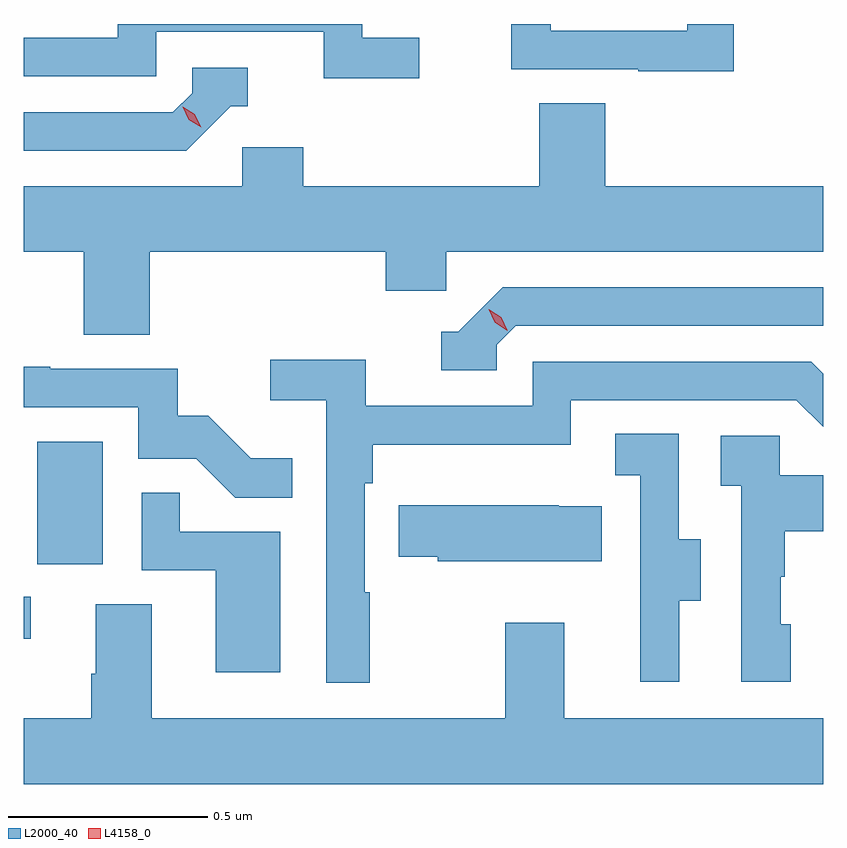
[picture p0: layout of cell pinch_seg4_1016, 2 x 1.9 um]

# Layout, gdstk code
import gdstk
lib = gdstk.Library(unit=1e-6, precision=1e-09)
def R(c, l, rs):  # rectangles x0, y0, x1, y1
    for r in rs: c.add(gdstk.rectangle(r[:2], r[2:], *l))
def P(c, l, *ps):  # polygons
    for p in ps: c.add(gdstk.Polygon(p, *l))
L2000_40 = (2000, 40)
L4158_0 = (4158, 0)

pinch_seg4_1016 = lib.new_cell('pinch_seg4_1016')
R(pinch_seg4_1016, L2000_40, [(879.461,774.54,879.478,774.645), (879.494,774.726,879.658,775.033)])
P(pinch_seg4_1016, L2000_40, [(880.45,776.044),(880.308,776.044),(880.308,776.078),(879.696,776.078),(879.696,776.043),(879.461,776.043),(879.461,775.947),(879.792,775.947),(879.792,776.058),(880.211,776.058),(880.211,775.942),(880.45,775.942)],
  [(881.237,776.078),(881.121,776.078),(881.121,776.061),(880.779,776.061),(880.779,776.078),(880.681,776.078),(880.681,775.965),(880.999,775.965),(880.999,775.96),(881.237,775.96)],
  [(879.978,775.872),(880.021,775.872),(880.021,775.968),(879.882,775.968),(879.882,775.905),(879.834,775.857),(879.461,775.857),(879.461,775.761),(879.867,775.761)],
  [(879.776,775.508),(880.367,775.508),(880.367,775.41),(880.518,775.41),(880.518,775.508),(881.461,775.508),(881.461,775.672),(880.916,775.672),(880.916,775.88),(880.751,775.88),(880.751,775.672),(880.16,775.672),(880.16,775.77),(880.008,775.77),(880.008,775.672),(879.461,775.672),(879.461,775.508),(879.611,775.508),(879.611,775.3),(879.776,775.3)],
  [(880.644,775.275),(880.692,775.323),(881.461,775.323),(881.461,775.419),(880.659,775.419),(880.548,775.308),(880.505,775.308),(880.505,775.212),(880.644,775.212)],
  [(880.327,774.656),(880.314,774.656),(880.314,774.929),(880.334,774.929),(880.334,775.025),(880.83,775.025),(880.83,775.137),(881.394,775.137),(881.461,775.07),(881.461,775.203),(881.431,775.233),(880.734,775.233),(880.734,775.122),(880.316,775.122),(880.316,775.238),(880.077,775.238),(880.077,775.136),(880.218,775.136),(880.218,774.429),(880.327,774.429)],
  [(880.133,774.991),(880.029,774.991),(879.922,775.098),(879.846,775.098),(879.846,775.215),(879.527,775.215),(879.527,775.22),(879.461,775.22),(879.461,775.119),(879.747,775.119),(879.747,774.99),(879.892,774.99),(879.99,774.892),(880.133,774.892)],
  [(881.101,774.634),(881.155,774.634),(881.155,774.789),(881.1,774.789),(881.1,775.052),(880.941,775.052),(880.941,774.949),(881.004,774.949),(881.004,774.645),(881.003,774.645),(881.003,774.432),(881.101,774.432)],
  [(881.38,774.576),(881.355,774.576),(881.355,774.695),(881.365,774.695),(881.365,774.809),(881.461,774.809),(881.461,774.949),(881.352,774.949),(881.352,775.047),(881.205,775.047),(881.205,774.923),(881.256,774.923),(881.256,774.432),(881.38,774.432)],
  [(880.102,774.807),(879.851,774.807),(879.851,774.905),(879.756,774.905),(879.756,774.711),(879.941,774.711),(879.941,774.456),(880.102,774.456)],
  [(880.907,774.871),(880.799,774.871),(880.799,774.874),(880.399,774.874),(880.399,774.745),(880.497,774.745),(880.497,774.734),(880.907,774.734)],
  [(880.666,774.58),(880.666,774.34),(879.781,774.34),(879.781,774.626),(879.641,774.626),(879.641,774.452),(879.629,774.452),(879.629,774.34),(879.461,774.34),(879.461,774.176),(881.461,774.176),(881.461,774.34),(880.813,774.34),(880.813,774.58)])
P(pinch_seg4_1016, L4158_0, [(879.905,775.819),(879.874,775.838),(879.858,775.871),(879.858,775.871),(879.858,775.871),(879.889,775.852),(879.905,775.819),(879.905,775.819)],
  [(880.67,775.31),(880.639,775.331),(880.624,775.364),(880.624,775.364),(880.624,775.364),(880.655,775.344),(880.67,775.311),(880.67,775.31)])

lib.write_gds('pinch_seg4_1016.gds')
